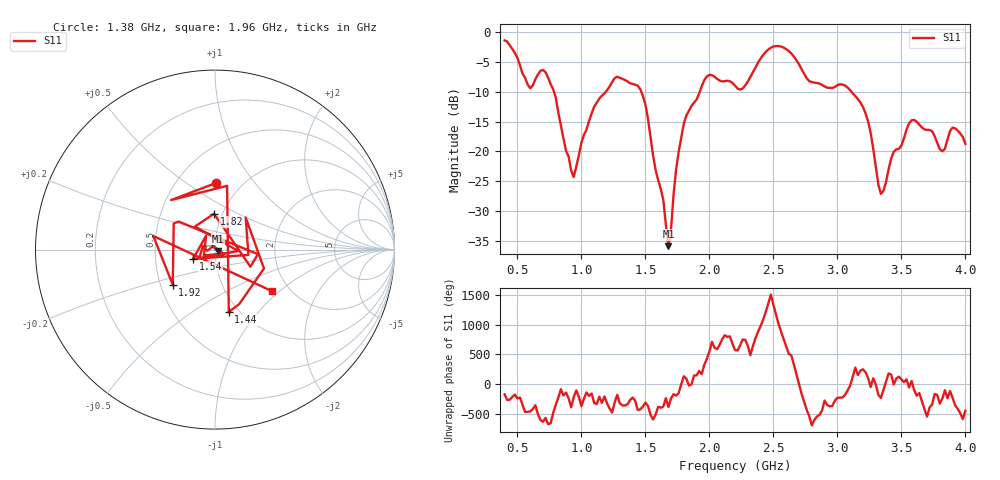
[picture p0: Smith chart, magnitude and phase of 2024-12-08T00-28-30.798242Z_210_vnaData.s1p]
!Created with skrf (http://scikit-rf.org).
# Hz S RI R 50.0
!freq ReS11 ImS11
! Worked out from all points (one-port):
!   181 points, 400 MHz to 4 GHz, reference 50 ohm
!   lowest |S11| = -35.9 dB at 1.68 GHz (marker M1), VSWR 1.03, Z = 51.4 - j0.759 ohm
!   |S11| at or under -10 dB: 785.6 MHz to 1.191 GHz (404.9 MHz wide, 41 % of centre); 1.468 GHz to 1.925 GHz (457.1 MHz wide, 26.9 % of centre); 3.11 GHz to end of sweep
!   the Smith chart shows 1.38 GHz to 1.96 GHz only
!   S11 on the Smith chart (normalised r, x): 1.38 GHz: 0.77, +0.66; 1.44 GHz: 0.90, -0.71; 1.54 GHz: 0.78, -0.08; 1.82 GHz: 0.91, +0.38; 1.92 GHz: 0.58, -0.25; 1.96 GHz: 1.63, -0.90
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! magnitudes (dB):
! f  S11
! 400 MHz  -1.4
! 600 MHz  -9.4
! 720 MHz  -6.7
! 800 MHz  -11.0
! 860 MHz  -17.8
! 940 MHz  -24.3
! 1.1 GHz  -12.5
! 1.3 GHz  -7.7
! 1.38 GHz  -8.6
! 1.44 GHz  -9.0
! 1.54 GHz  -17.6
! 1.64 GHz  -28.1
! 1.68 GHz  -35.9
! 1.76 GHz  -20.1
! 1.82 GHz  -14.0
! 1.92 GHz  -10.3
! 1.96 GHz  -8.1
! 2.2 GHz  -9.0
! 2.48 GHz  -2.6
! 2.66 GHz  -4.1
! 2.78 GHz  -8.2
! 3.1 GHz  -9.7
! 3.24 GHz  -15.0
! 3.34 GHz  -27.1
! 3.56 GHz  -15.3
! 3.82 GHz  -20.0
! 3.9 GHz  -16.0
! 4 GHz  -18.7
